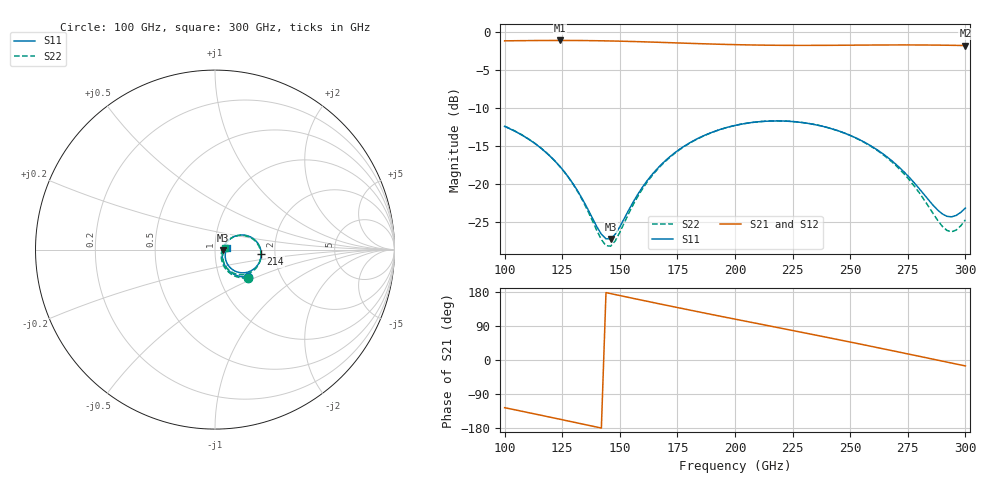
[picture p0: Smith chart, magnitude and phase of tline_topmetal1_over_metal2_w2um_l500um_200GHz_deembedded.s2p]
! Created with skrf 2.2.0 (http://scikit-rf.org).
# GHz S DB R 50.0
! Port[1] = P1
! Port[2] = P2
!freq dBS11 angS11 dBS21 angS21 dBS12 angS12 dBS22 angS22
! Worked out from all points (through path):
!   101 points, 100 GHz to 300 GHz, reference 50 ohm
!   highest |S21| = -1.15 dB at 124 GHz (marker M1); lowest = -1.8 dB at 300 GHz (marker M2)
!   group delay of S21, straight-line fit = 3.45 ps
!   lowest |S11| = -27.2 dB at 146 GHz (marker M3), VSWR 1.09, Z = 54.5 - j0.388 ohm
!   |S11| at or under -10 dB: start of sweep to end of sweep
!   |S22| runs from -28.2 to -11.7 dB; largest |S21 - S12| = 1.5e-15
!   S11 on the Smith chart (normalised r, x): 100 GHz: 1.37, -0.44; 214 GHz: 1.69, -0.09; 300 GHz: 1.15, +0.02
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100  -12.44 -39.1  -1.20 -125.8  -1.20 -125.8  -12.41 -40.8
114  -14.88 -51.4  -1.16 -143.5  -1.16 -143.5  -14.86 -53.7
124  -17.71 -57.4  -1.15 -156.3  -1.15 -156.3  -17.71 -60.5
134  -22.11 -55.0  -1.16 -169.3  -1.16 -169.3  -22.26 -59.5
142  -26.61 -30.3  -1.19 -179.6  -1.19 -179.6  -27.32 -35.2
144  -27.21 -18.0  -1.21 177.8  -1.21 177.8  -28.11 -21.7
146  -27.22 -4.7  -1.22 175.2  -1.22 175.2  -28.18 -6.5
148  -26.62 7.5  -1.23 172.7  -1.23 172.7  -27.50 7.3
160  -20.36 34.7  -1.33 157.3  -1.33 157.3  -20.57 35.4
168  -17.45 33.7  -1.40 147.2  -1.40 147.2  -17.56 33.6
182  -14.32 24.1  -1.55 129.8  -1.55 129.8  -14.36 23.3
200  -12.32 7.9  -1.70 107.9  -1.70 107.9  -12.32 6.3
214  -11.75 -5.4  -1.77 91.1  -1.77 91.1  -11.75 -7.5
224  -11.78 -14.9  -1.79 79.0  -1.79 79.0  -11.77 -17.5
234  -12.17 -24.2  -1.80 66.9  -1.80 66.9  -12.16 -27.3
252  -13.89 -39.8  -1.77 44.9  -1.77 44.9  -13.91 -44.1
268  -16.94 -49.3  -1.74 24.9  -1.74 24.9  -17.08 -55.5
280  -20.63 -47.1  -1.74 9.7  -1.74 9.7  -21.17 -55.7
288  -23.44 -32.3  -1.76 -0.4  -1.76 -0.4  -24.80 -41.2
292  -24.25 -18.8  -1.78 -5.5  -1.78 -5.5  -26.11 -24.7
296  -24.14 -3.7  -1.80 -10.6  -1.80 -10.6  -26.07 -4.7
300  -23.17 8.8  -1.82 -15.7  -1.82 -15.7  -24.72 11.2
